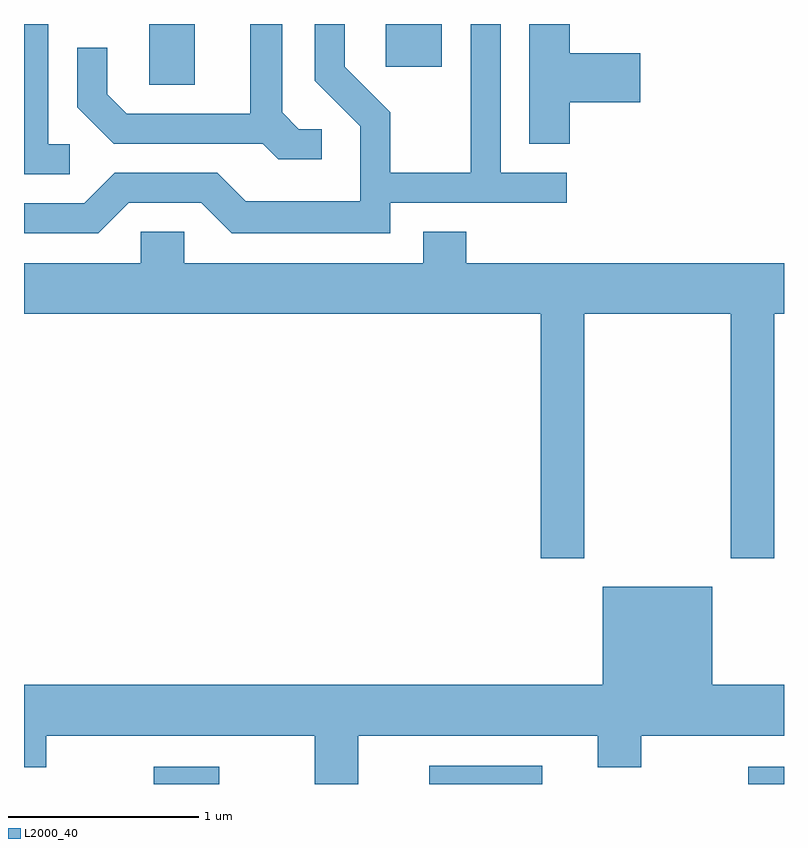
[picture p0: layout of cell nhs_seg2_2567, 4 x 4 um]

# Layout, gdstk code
import gdstk
lib = gdstk.Library(unit=1e-6, precision=1e-09)
def R(c, l, rs):  # rectangles x0, y0, x1, y1
    for r in rs: c.add(gdstk.rectangle(r[:2], r[2:], *l))
def P(c, l, *ps):  # polygons
    for p in ps: c.add(gdstk.Polygon(p, *l))
L2000_40 = (2000, 40)

nhs_seg2_2567 = lib.new_cell('nhs_seg2_2567')
R(nhs_seg2_2567, L2000_40, [(260.293,1085.802,260.639,1085.894), (261.743,1085.802,262.339,1085.899), (263.423,1085.802,263.611,1085.894), (260.271,1089.481,260.509,1089.802), (261.516,1089.576,261.809,1089.802)])
P(nhs_seg2_2567, L2000_40, [(262.484,1089.391),(262.854,1089.391),(262.854,1089.649),(262.484,1089.649),(262.484,1089.802),(262.271,1089.802),(262.271,1089.171),(262.484,1089.171)],
  [(259.853,1089.169),(259.739,1089.169),(259.739,1089.802),(259.611,1089.802),(259.611,1089.011),(259.853,1089.011)],
  [(260.162,1088.861),(260.544,1088.861),(260.704,1088.701),(261.539,1088.701),(261.539,1088.861),(262.468,1088.861),(262.468,1089.019),(262.119,1089.019),(262.119,1089.802),(261.961,1089.802),(261.961,1089.019),(261.539,1089.019),(261.539,1089.337),(261.299,1089.577),(261.299,1089.802),(261.141,1089.802),(261.141,1089.504),(261.381,1089.264),(261.381,1088.869),(260.777,1088.869),(260.627,1089.019),(260.089,1089.019),(259.929,1088.859),(259.611,1088.859),(259.611,1088.701),(260.002,1088.701)],
  [(261.178,1089.249),(261.057,1089.249),(260.969,1089.337),(260.969,1089.802),(260.801,1089.802),(260.801,1089.329),(260.152,1089.329),(260.049,1089.432),(260.049,1089.678),(259.891,1089.678),(259.891,1089.364),(260.084,1089.171),(260.868,1089.171),(260.949,1089.091),(261.178,1089.091)],
  [(262.559,1088.276),(263.331,1088.276),(263.331,1086.991),(263.559,1086.991),(263.559,1088.276),(263.611,1088.276),(263.611,1088.544),(261.939,1088.544),(261.939,1088.709),(261.711,1088.709),(261.711,1088.544),(260.454,1088.544),(260.454,1088.709),(260.226,1088.709),(260.226,1088.544),(259.611,1088.544),(259.611,1088.276),(262.331,1088.276),(262.331,1086.991),(262.559,1086.991)],
  [(261.369,1086.056),(262.631,1086.056),(262.631,1085.891),(262.859,1085.891),(262.859,1086.056),(263.611,1086.056),(263.611,1086.324),(263.234,1086.324),(263.234,1086.839),(262.656,1086.839),(262.656,1086.324),(259.611,1086.324),(259.611,1085.891),(259.729,1085.891),(259.729,1086.056),(261.141,1086.056),(261.141,1085.802),(261.369,1085.802)])

lib.write_gds('nhs_seg2_2567.gds')
